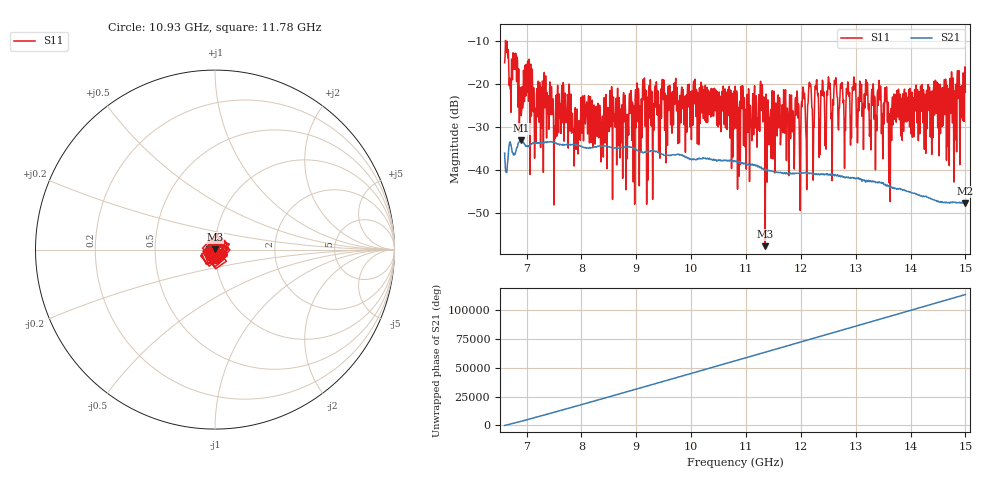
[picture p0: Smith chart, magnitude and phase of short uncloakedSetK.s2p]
!Keysight Technologies,N5235B,MY61252044,A.15.00.15
!Date: Friday, January 20, 2023 22:48:18
!Correction: S11(Off)
!S21(Off)
!S12(Off)
!S22(Off)
!S2P File: Measurements: S11, S21, S12, S22:
# Hz S  RI  R 50
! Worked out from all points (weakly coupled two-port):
!   1000 points, 6.6 GHz to 15 GHz, reference 50 ohm
!   highest |S21| = -33.16 dB at 6.903 GHz (marker M1); lowest = -47.9 dB at 14.99 GHz (marker M2)
!   lowest |S11| = -57.8 dB at 11.35 GHz (marker M3), VSWR 1.00, Z = 50 + j0.128 ohm
!   |S11| at or under -10 dB: start of sweep to 6.616604 GHz; 6.617 GHz to end of sweep
!   S12 and S22 are empty: the file has one direction only
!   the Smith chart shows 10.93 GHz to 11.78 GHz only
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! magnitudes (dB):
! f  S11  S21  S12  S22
! 6.6 GHz  -15.1  -36.1  -  -
! 6.701 GHz  -21.2  -33.5  -  -
! 6.793 GHz  -16.6  -36.3  -  -
! 6.903 GHz  -27.4  -33.2  -  -
! 7.012 GHz  -22.0  -34.6  -  -
! 7.155 GHz  -25.7  -33.7  -  -
! 8.004 GHz  -28.3  -34.6  -  -
! 9.4 GHz  -23.1  -36.0  -  -
! 10.8 GHz  -20.6  -38.1  -  -
! 11.3 GHz  -21.2  -39.8  -  -
! 11.35 GHz  -57.8  -39.9  -  -
! 11.93 GHz  -21.7  -40.8  -  -
! 11.98 GHz  -43.1  -40.8  -  -
! 12.17 GHz  -20.5  -40.8  -  -
! 12.2 GHz  -25.5  -40.9  -  -
! 12.97 GHz  -18.6  -41.9  -  -
! 13.55 GHz  -24.2  -43.8  -  -
! 13.6 GHz  -43.0  -43.9  -  -
! 13.74 GHz  -29.0  -44.4  -  -
! 14.8 GHz  -21.7  -47.6  -  -
! 14.99 GHz  -16.0  -47.9  -  -
! 15 GHz  -22.0  -47.8  -  -
